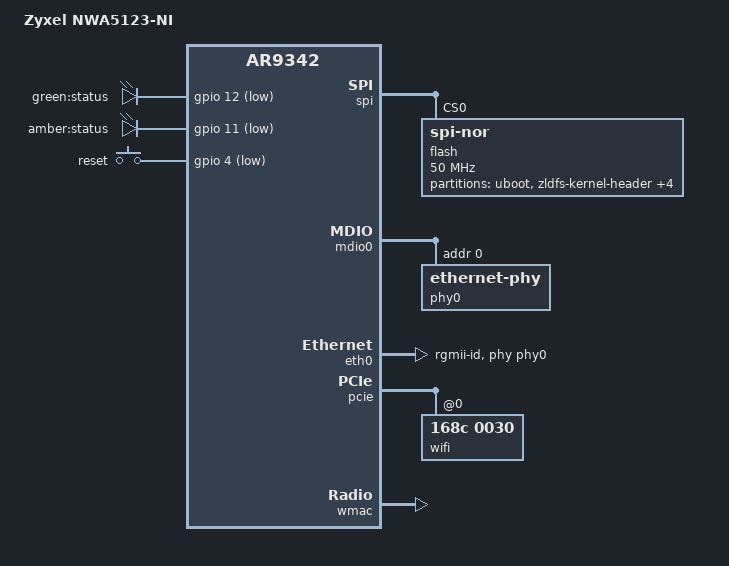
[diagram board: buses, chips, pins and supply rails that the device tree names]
// SPDX-License-Identifier: GPL-2.0-or-later OR MIT

#include "ar9344.dtsi"

#include <dt-bindings/gpio/gpio.h>
#include <dt-bindings/input/input.h>
#include <dt-bindings/mtd/partitions/uimage.h>

/ {
	compatible = "zyxel,nwa5123-ni", "qca,ar9342";
	model = "Zyxel NWA5123-NI";

	aliases {
		label-mac-device = &eth0;
		led-boot = &led_status_green;
		led-failsafe = &led_status_amber;
		led-running = &led_status_green;
		led-upgrade = &led_status_amber;
	};

	leds {
		compatible = "gpio-leds";

		led_status_green: status_green {
			label = "green:status";
			gpios = <&gpio 12 GPIO_ACTIVE_LOW>;
		};

		led_status_amber: status_amber {
			label = "amber:status";
			gpios = <&gpio 11 GPIO_ACTIVE_LOW>;
		};
	};

	keys {
		compatible = "gpio-keys";

		reset {
			label = "reset";
			linux,code = <KEY_RESTART>;
			gpios = <&gpio 4 GPIO_ACTIVE_LOW>;
		};
	};
};

&ref {
	clock-frequency = <40000000>;
};

&spi {
	status = "okay";

	flash@0 {
		compatible = "jedec,spi-nor";
		reg = <0>;
		spi-max-frequency = <50000000>;

		partitions {
			compatible = "fixed-partitions";
			#address-cells = <1>;
			#size-cells = <1>;

			partition@0 {
				label = "uboot";
				reg = <0x0 0x30000>;
				read-only;
			};

			partition@30000 {
				label = "zldfs-kernel-header";
				reg = <0x30000 0x000200>;
				read-only;
			};

			partition@30200 {
				label = "loader";
				reg = <0x30200 0x00fe00>;
				read-only;
			};

			partition@40000 {
				compatible = "openwrt,uimage", "denx,uimage";
				openwrt,ih-magic = <IH_MAGIC_OKLI>;
				label = "firmware";
				reg = <0x40000 0xe10000>;
			};

			partition@e50000 {
				label = "zyxel";
				reg = <0xe50000 0x1A0000>;
				read-only;
			};

			art: partition@ff0000 {
				label = "art";
				reg = <0xff0000 0x10000>;
				read-only;

				compatible = "nvmem-cells";
				#address-cells = <1>;
				#size-cells = <1>;

				calibration_ath9k: calibration@1000 {
					reg = <0x1000 0x440>;
				};

				macaddr_art_1002: macaddr@1002 {
					reg = <0x1002 0x6>;
				};
			};
		};
	};
};

&mdio0 {
	status = "okay";

	phy0: ethernet-phy@0 {
		reg = <0>;
		phy-mode = "rgmii";
	};
};

&eth0 {
	status = "okay";

	pll-data = <0x06000000 0x00000101 0x00001313>;

	nvmem-cells = <&macaddr_art_1002>;
	nvmem-cell-names = "mac-address";

	phy-mode = "rgmii-id";
	phy-handle = <&phy0>;

	gmac-config {
		device = <&gmac>;
		rxdv-delay = <3>;
		rxd-delay = <3>;
		txen-delay = <3>;
		txd-delay = <3>;
		rgmii-gmac0 = <1>;
	};
};

&pcie {
	status = "okay";

	wifi@0,0 {
		compatible = "168c,0030";
		reg = <0x0000 0 0 0 0>;
		nvmem-cells = <&macaddr_art_1002>;
		nvmem-cell-names = "mac-address";
		mac-address-increment = <2>;
	};
};

&wmac {
	status = "okay";

	ieee80211-freq-limit = <2402000 2482000>;

	nvmem-cells = <&macaddr_art_1002>, <&calibration_ath9k>;
	nvmem-cell-names = "mac-address", "calibration";
	mac-address-increment = <1>;
};
